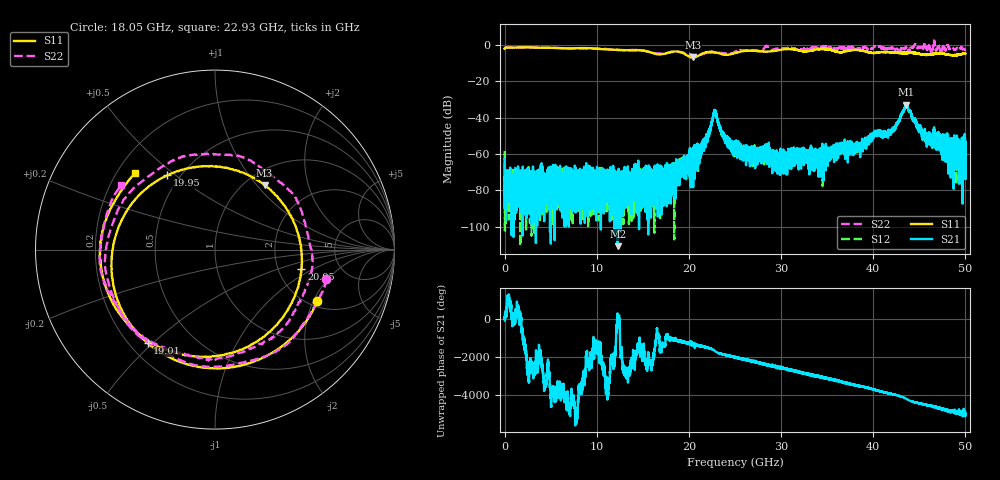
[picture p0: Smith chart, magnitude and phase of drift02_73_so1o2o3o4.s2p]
!Created with skrf (http://scikit-rf.org).
# Hz S RI R 50.0
!freq ReS11 ImS11 ReS21 ImS21 ReS12 ImS12 ReS22 ImS22
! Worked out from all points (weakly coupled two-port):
!   10001 points, 300 kHz to 50 GHz, reference 50 ohm
!   highest |S21| = -32.90 dB at 43.61 GHz (marker M1); lowest = -110.8 dB at 12.27 GHz (marker M2)
!   lowest |S11| = -6.9 dB at 20.45 GHz (marker M3), VSWR 2.65, Z = 61 + j54.8 ohm
!   |S11| at or under -10 dB: nowhere
!   |S22| runs from -5.7 to 2.5 dB; largest |S21 - S12| = 0.0033
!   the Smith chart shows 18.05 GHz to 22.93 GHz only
!   S11 on the Smith chart (normalised r, x): 18.05 GHz: 2.21, -2.14; 19.01 GHz: 0.27, -0.48; 19.95 GHz: 0.43, +0.47; 20.95 GHz: 2.69, -0.77; 22.93 GHz: 0.27, +0.38
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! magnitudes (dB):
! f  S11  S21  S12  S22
! 300 kHz  -2.1  -63.0  -58.4  -2.1
! 275.3 MHz  -1.4  -73.1  -86.6  -1.4
! 8.335 GHz  -1.7  -83.1  -73.1  -1.9
! 12.27 GHz  -2.7  -110.8  -73.0  -2.8
! 16.67 GHz  -5.2  -80.5  -74.2  -4.7
! 18.05 GHz  -3.9  -87.3  -69.6  -3.9
! 19.01 GHz  -3.8  -67.6  -69.4  -3.9
! 19.95 GHz  -6.2  -62.5  -63.1  -5.2
! 20.45 GHz  -6.9  -62.2  -65.5  -5.4
! 20.95 GHz  -6.1  -57.4  -59.5  -5.6
! 22.93 GHz  -4.2  -37.5  -37.4  -3.9
! 23.73 GHz  -5.3  -49.9  -49.6  -4.7
! 25 GHz  -4.5  -55.7  -58.1  -3.9
! 29.73 GHz  -2.9  -60.5  -65.2  -2.1
! 33.34 GHz  -3.0  -62.7  -61.3  -1.6
! 38.08 GHz  -2.7  -56.0  -56.0  -2.2
! 40.3 GHz  -4.4  -49.1  -48.6  -0.9
! 41.67 GHz  -4.0  -49.2  -48.6  -1.8
! 43.61 GHz  -4.5  -32.9  -33.5  -1.5
! 45.61 GHz  -5.2  -49.1  -49.5  0.3
! 49.75 GHz  -4.8  -68.5  -55.6  -2.5
! 50 GHz  -4.8  -73.6  -58.5  -2.7
